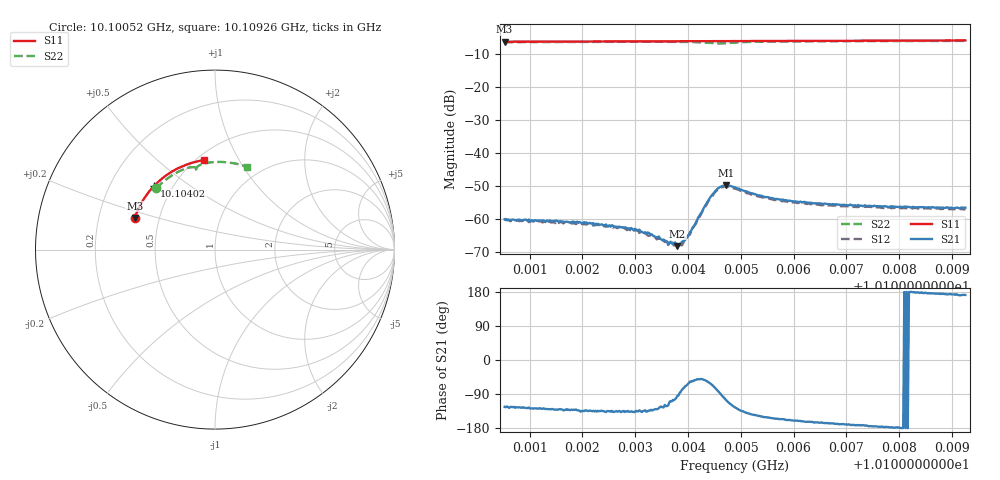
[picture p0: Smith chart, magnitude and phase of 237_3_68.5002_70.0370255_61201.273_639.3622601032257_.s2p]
#  HZ  S  RI  R  50.00
! Rohde & Schwarz Vector Network Analyzer
! Rohde-Schwarz,ZNB20-2Port,1311601062101988,3.16
! Created: UTC 3/20/2024, 4:59:12 PM
! freq[Hz]  re:S11  im:S11  re:S21  im:S21  re:S12  im:S12  re:S22  im:S22
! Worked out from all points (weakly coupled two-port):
!   401 points, 10.10052 GHz to 10.10926 GHz, reference 50 ohm
!   highest |S21| = -49.78 dB at 10.10472 GHz (marker M1); lowest = -68.1 dB at 10.1038 GHz (marker M2)
!   lowest |S11| = -6.4 dB at 10.10052 GHz (marker M3), VSWR 2.85, Z = 18.1 + j8.3 ohm
!   |S11| at or under -10 dB: nowhere
!   |S22| runs from -6.9 to -6.1 dB; largest |S21 - S12| = 0.00032
!   S11 on the Smith chart (normalised r, x): 10.10052 GHz: 0.36, +0.17; 10.10402 GHz: 0.40, +0.37; 10.10926 GHz: 0.54, +0.73
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1.0100525e10  -0.4468 0.1764  -0.000551 -0.000832  -0.000488 -0.000872  -0.3274 0.341
1.0101987e10  -0.4109 0.2578  -0.00061 -0.000624  -0.000536 -0.000662  -0.2558 0.4029
1.0102511e10  -0.3944 0.285  -0.000572 -0.00057  -0.000532 -0.000607  -0.2266 0.4216
1.0103035e10  -0.3763 0.3111  -0.000488 -0.000481  -0.000458 -0.000508  -0.196 0.438
1.0103275e10  -0.3673 0.3227  -0.000419 -0.000437  -0.000348 -0.000448  -0.1812 0.4447
1.010345e10  -0.3607 0.3308  -0.000329 -0.000439  -0.000261 -0.000431  -0.1698 0.4492
1.0103603e10  -0.3546 0.338  -0.000241 -0.000394  -0.000187 -0.000414  -0.1596 0.4528
1.0103799e10  -0.3468 0.347  -3.08e-05 -0.000392  1.14e-05 -0.000416  -0.1459 0.4566
1.0103865e10  -0.3439 0.35  4.8e-05 -0.000424  7.63e-05 -0.000398  -0.1411 0.4576
1.0103908e10  -0.342 0.3517  0.000118 -0.000453  0.000102 -0.000423  -0.1378 0.4581
1.0104018e10  -0.3376 0.3566  0.00029 -0.000512  0.000324 -0.000484  -0.1294 0.4591
1.0104323e10  -0.3246 0.3697  0.000952 -0.00127  0.000985 -0.00115  -0.1051 0.4551
1.0104454e10  -0.3187 0.3751  0.000958 -0.00211  0.00108 -0.00192  -0.0987 0.4479
1.0104585e10  -0.3129 0.3803  0.000292 -0.00298  0.000522 -0.00283  -0.0999 0.4415
1.0104716e10  -0.3072 0.3856  -0.000819 -0.00314  -0.000534 -0.00307  -0.1047 0.4442
1.0104891e10  -0.299 0.3924  -0.00174 -0.00248  -0.00144 -0.00251  -0.1026 0.4559
1.0105218e10  -0.2834 0.4049  -0.00198 -0.00145  -0.00177 -0.00155  -0.0826 0.4716
1.0105589e10  -0.2654 0.4181  -0.00186 -0.00093  -0.0017 -0.00106  -0.0568 0.4804
1.0106353e10  -0.2261 0.4426  -0.00167 -0.000501  -0.00158 -0.000626  -0.00547 0.4878
1.0107117e10  -0.1847 0.4631  -0.0016 -0.000255  -0.00148 -0.000391  0.0444 0.4882
1.0107816e10  -0.1452 0.4785  -0.00154 -6.81e-05  -0.00148 -0.000234  0.0893 0.4837
1.0109257e10  -0.0607 0.4989  -0.00148 0.000218  -0.00143 6.76e-05  0.1785 0.4615
